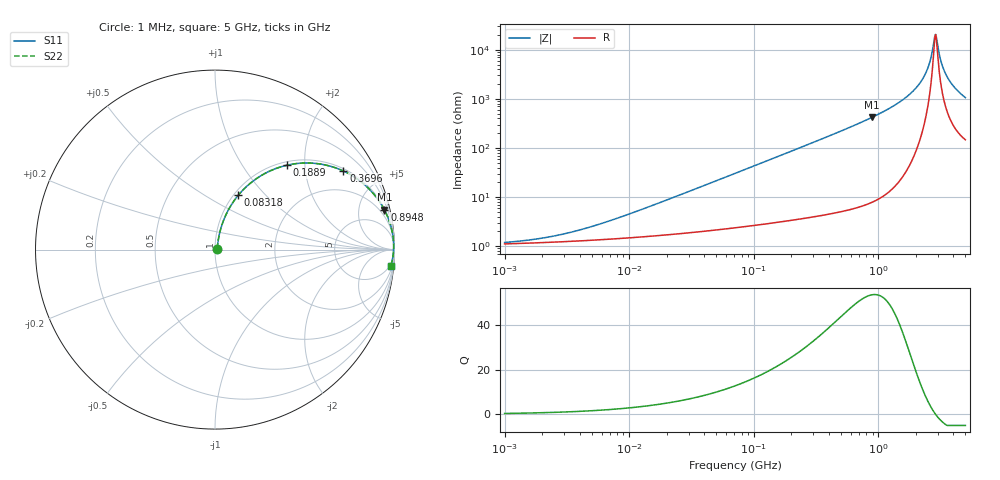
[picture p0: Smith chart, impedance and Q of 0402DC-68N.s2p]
# MHz  S  MA  R  50
!Freq  MagS11  AngS11  MagS21  AngS21  MagS12  AngS12  MagS22  AngS22
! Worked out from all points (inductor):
!   801 points, 1 MHz to 5 GHz, reference 50 ohm
!   read as one part in series: L = 68 nH near 10.53 MHz
!   highest Q = 53.7 at 894.8 MHz (marker M1), where L = 75.3 nH
!   self-resonance near 2.858 GHz
!   S11 on the Smith chart (normalised r, x): 1 MHz: 1.02, +0.01; 83.18 MHz: 1.05, +0.71; 188.9 MHz: 1.07, +1.62; 369.6 MHz: 1.09, +3.21; 894.8 MHz: 1.16, +8.46; 5 GHz: 4, -21
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1  0.01178 20.8  0.989 -0.2  0.989 -0.2  0.01178 20.8
2.085609  0.01467 36.4  0.9882 -0.5  0.9882 -0.5  0.01467 36.4
4.168304  0.0217 53.1  0.9871 -1.0  0.9871 -1.0  0.0217 53.1
17.19065  0.07386 73.3  0.9813 -4.1  0.9813 -4.1  0.07386 73.3
70.89654  0.2848 69.0  0.9367 -16.5  0.9367 -16.5  0.2848 69.0
83.18088  0.3287 66.9  0.9218 -19.1  0.9218 -19.1  0.3287 66.9
188.916  0.6179 49.6  0.7616 -38.1  0.7616 -38.1  0.6179 49.6
295.5183  0.7758 37.4  0.6077 -50.8  0.6077 -50.8  0.7758 37.4
369.6088  0.8389 31.5  0.5223 -57.0  0.5223 -57.0  0.8389 31.5
894.8433  0.9692 13.2  0.229 -75.7  0.229 -75.7  0.9692 13.2
1218.757  0.9848 8.9  0.1552 -79.9  0.1552 -79.9  0.9848 8.9
1732.183  0.9935 4.9  0.08566 -83.2  0.08566 -83.2  0.9935 4.9
2189.668  0.9956 2.6  0.04499 -83.1  0.04499 -83.1  0.9956 2.6
2488.267  0.9958 1.4  0.02406 -79.3  0.02406 -79.3  0.9958 1.4
2624.399  0.9957 0.9  0.01565 -73.6  0.01565 -73.6  0.9957 0.9
2797.623  0.9954 0.3  0.00661 -45.5  0.00661 -45.5  0.9954 0.3
2888.477  0.9952 -0.0  0.004861 4.9  0.004861 4.9  0.9952 -0.0
2982.281  0.9949 -0.3  0.007548 47.2  0.007548 47.2  0.9949 -0.3
3247.589  0.994 -1.1  0.02019 72.0  0.02019 72.0  0.994 -1.1
3536.499  0.9927 -1.9  0.03384 76.5  0.03384 76.5  0.9927 -1.9
4105.305  0.9894 -3.3  0.05848 77.9  0.05848 77.9  0.9894 -3.3
5000  0.9829 -5.3  0.09269 76.8  0.09269 76.8  0.9829 -5.3
